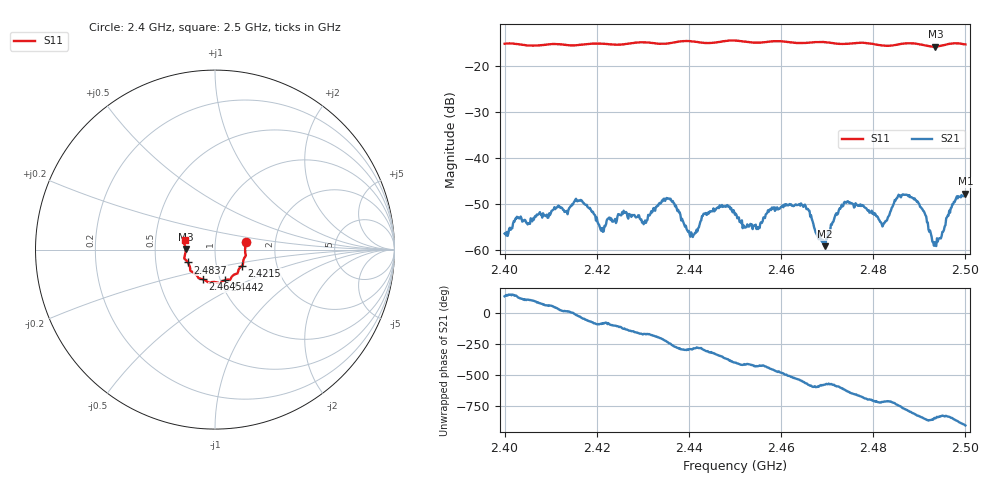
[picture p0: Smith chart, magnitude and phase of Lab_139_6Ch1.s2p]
# Hz S RI R 50
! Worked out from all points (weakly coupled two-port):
!   601 points, 2.4 GHz to 2.5 GHz, reference 50 ohm
!   highest |S21| = -47.83 dB at 2.5 GHz (marker M1); lowest = -59.3 dB at 2.4695 GHz (marker M2)
!   lowest |S11| = -15.7 dB at 2.4935 GHz (marker M3), VSWR 1.39, Z = 35.9 + j0.283 ohm
!   |S11| at or under -10 dB: start of sweep to end of sweep
!   S12 and S22 are empty: the file has one direction only
!   S11 on the Smith chart (normalised r, x): 2.4 GHz: 1.41, +0.12; 2.4215 GHz: 1.33, -0.25; 2.4442 GHz: 1.05, -0.37; 2.4645 GHz: 0.83, -0.29; 2.4837 GHz: 0.73, -0.11; 2.5 GHz: 0.71, +0.07
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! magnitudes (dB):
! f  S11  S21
! 2.4 GHz  -15.1  -56.5
! 2.4167 GHz  -15.3  -49.3
! 2.4215 GHz  -15.1  -56.0
! 2.426 GHz  -15.2  -52.0
! 2.4303 GHz  -14.8  -54.3
! 2.4333 GHz  -15.1  -50.4
! 2.4362 GHz  -14.9  -49.3
! 2.4407 GHz  -14.6  -56.9
! 2.4442 GHz  -15.0  -51.9
! 2.45 GHz  -14.4  -52.4
! 2.4548 GHz  -14.9  -55.1
! 2.458 GHz  -14.6  -50.8
! 2.4645 GHz  -15.0  -50.3
! 2.4667 GHz  -14.8  -53.3
! 2.4695 GHz  -14.8  -59.3
! 2.4742 GHz  -15.1  -49.8
! 2.4833 GHz  -15.6  -52.7
! 2.4837 GHz  -15.5  -51.8
! 2.4888 GHz  -15.0  -49.0
! 2.4935 GHz  -15.7  -59.2
! 2.4977 GHz  -15.0  -49.6
! 2.5 GHz  -15.3  -47.8
